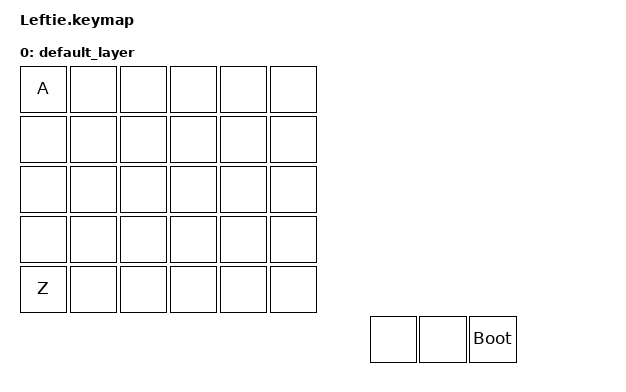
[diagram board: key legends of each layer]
#include <behaviors.dtsi>
#include <dt-bindings/zmk/keys.h>

/ {
    keymap {
      compatible = "zmk,keymap";

      default_layer {
        bindings = <
          &kp A &none &none &none &none &none
          &none &none &none &none &none &none
          &none &none &none &none &none &none
          &none &none &none &none &none &none
          &kp Z &none &none &none &none &none
                                                  &none &none &bootloader
        >;
      };
    };
};

